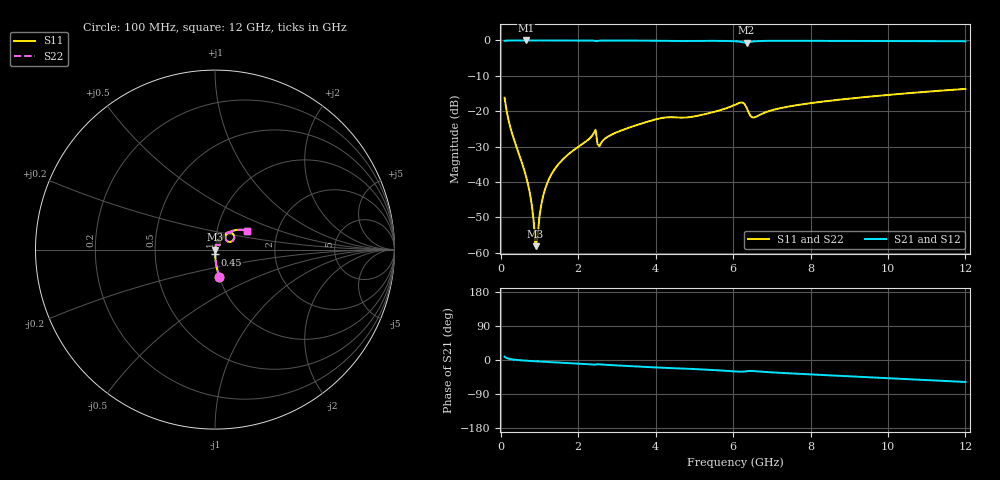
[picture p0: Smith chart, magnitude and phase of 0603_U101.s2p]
! S-parameter model data by Modelithics Inc. support@modelithics.com 813-866-6335 Tampa FL USA
! S-Parameter data specifications:
! Substrate: 20-mil Rogers, substrate thickness, H=0.508mm, Dielectric constant, Er=3.75
! PCB Mounting Pad Footprint: Pad width, PadW=0.75mm , Pad length, PadL=0.80mm , Pad gap, PadG (edge-to-edge)=0.70mm , Reference planes=2.20mm apart
! Created Thu Mar 08 16:43:33 2018
# hz S ma R 50
! 2 Port Network Data from SP1.SP block
! freq  magS11  angS11  magS21  angS21  magS12  angS12  magS22  angS22
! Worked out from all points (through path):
!   239 points, 100 MHz to 12 GHz, reference 50 ohm
!   highest |S21| = -0.01 dB at 650 MHz (marker M1); lowest = -0.6 dB at 6.35 GHz (marker M2)
!   group delay of S21, straight-line fit = 13.6 ps
!   lowest |S11| = -58.1 dB at 900 MHz (marker M3), VSWR 1.00, Z = 50.1 - j0.0696 ohm
!   |S11| at or under -10 dB: start of sweep to end of sweep
!   |S22| runs from -58.1 to -13.7 dB; largest |S21 - S12| = 0
!   S11 on the Smith chart (normalised r, x): 100 MHz: 1.00, -0.31; 450 MHz: 1.00, -0.05; 12 GHz: 1.39, +0.31
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1e8  0.155 -81.3  0.9875 8.5  0.9875 8.5  0.155 -81.3
2e8  0.0754 -86.0  0.9966 3.6  0.9966 3.6  0.0754 -86.0
4.5e8  0.0268 -88.5  0.9989 -0.2  0.9989 -0.2  0.0268 -88.5
6.5e8  0.0122 -87.5  0.999 -1.8  0.999 -1.8  0.0122 -87.5
8e8  0.00485 -80.7  0.9989 -2.8  0.9989 -2.8  0.00485 -80.7
9e8  0.001245 -33.9  0.9989 -3.4  0.9989 -3.4  0.001245 -33.9
9.5e8  0.001667 45.0  0.9989 -3.7  0.9989 -3.7  0.001667 45.0
1.05e9  0.004901 72.1  0.9988 -4.3  0.9988 -4.3  0.004901 72.1
1.25e9  0.01113 78.1  0.9986 -5.4  0.9986 -5.4  0.01113 78.1
1.55e9  0.0195 78.8  0.9983 -7.0  0.9983 -7.0  0.0195 78.8
2.1e9  0.03424 76.9  0.9974 -10.0  0.9974 -10.0  0.03424 76.9
2.45e9  0.05483 57.7  0.9798 -12.3  0.9798 -12.3  0.05483 57.7
2.5e9  0.03431 43.2  0.9795 -11.1  0.9795 -11.1  0.03431 43.2
2.55e9  0.03211 66.2  0.9926 -11.5  0.9926 -11.5  0.03211 66.2
2.9e9  0.04783 73.3  0.9963 -13.8  0.9963 -13.8  0.04783 73.3
4.1e9  0.07904 62.8  0.9871 -20.1  0.9871 -20.1  0.07904 62.8
6.05e9  0.1233 51.2  0.9736 -30.1  0.9736 -30.1  0.1233 51.2
6.35e9  0.1122 26.6  0.9328 -29.6  0.9328 -29.6  0.1122 26.6
6.55e9  0.08184 42.3  0.971 -29.4  0.971 -29.4  0.08184 42.3
8.05e9  0.1312 49.6  0.9861 -38.3  0.9861 -38.3  0.1312 49.6
1.005e10  0.1709 40.2  0.9803 -48.3  0.9803 -48.3  0.1709 40.2
1.2e10  0.2068 30.8  0.9733 -58.0  0.9733 -58.0  0.2068 30.8
